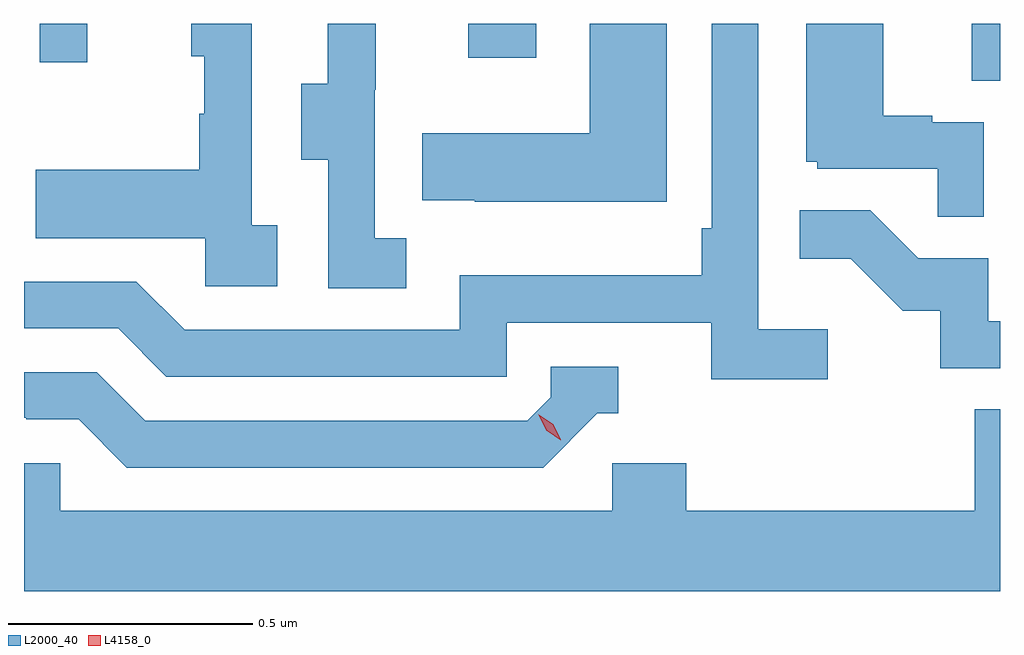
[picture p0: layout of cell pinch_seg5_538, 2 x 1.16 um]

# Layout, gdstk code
import gdstk
lib = gdstk.Library(unit=1e-6, precision=1e-09)
def R(c, l, rs):  # rectangles x0, y0, x1, y1
    for r in rs: c.add(gdstk.rectangle(r[:2], r[2:], *l))
def P(c, l, *ps):  # polygons
    for p in ps: c.add(gdstk.Polygon(p, *l))
L2000_40 = (2000, 40)
L4158_0 = (4158, 0)

pinch_seg5_538 = lib.new_cell('pinch_seg5_538')
R(pinch_seg5_538, L2000_40, [(962.441,843.154,962.499,843.27), (960.531,843.192,960.629,843.27), (961.409,843.201,961.549,843.27)])
P(pinch_seg5_538, L2000_40, [(962.466,843.069),(962.36,843.069),(962.36,843.082),(962.26,843.082),(962.26,843.27),(962.102,843.27),(962.102,842.988),(962.124,842.988),(962.124,842.973),(962.371,842.973),(962.371,842.875),(962.466,842.875)],
  [(962.146,842.644),(962.004,842.644),(962.004,843.27),(961.908,843.27),(961.908,842.851),(961.888,842.851),(961.888,842.755),(961.392,842.755),(961.392,842.643),(960.828,842.643),(960.729,842.742),(960.499,842.742),(960.499,842.646),(960.692,842.646),(960.791,842.547),(961.488,842.547),(961.488,842.658),(961.907,842.658),(961.907,842.542),(962.146,842.542)],
  [(961.816,843.27),(961.658,843.27),(961.658,843.046),(961.315,843.046),(961.315,842.909),(961.423,842.909),(961.423,842.906),(961.816,842.906)],
  [(961.282,842.831),(961.218,842.831),(961.218,843.135),(961.22,843.135),(961.22,843.27),(961.121,843.27),(961.121,843.147),(961.067,843.147),(961.067,842.992),(961.122,842.992),(961.122,842.728),(961.282,842.728)],
  [(961.018,842.858),(960.966,842.858),(960.966,843.27),(960.842,843.27),(960.842,843.204),(960.868,843.204),(960.868,843.086),(960.858,843.086),(960.858,842.971),(960.523,842.971),(960.523,842.831),(960.87,842.831),(960.87,842.733),(961.018,842.733)],
  [(962.499,842.661),(962.475,842.661),(962.475,842.79),(962.331,842.79),(962.233,842.888),(962.089,842.888),(962.089,842.789),(962.193,842.789),(962.3,842.682),(962.377,842.682),(962.377,842.565),(962.499,842.565)],
  [(961.674,842.472),(961.717,842.472),(961.717,842.568),(961.578,842.568),(961.578,842.505),(961.53,842.457),(960.747,842.457),(960.648,842.556),(960.499,842.556),(960.499,842.463),(960.504,842.463),(960.504,842.46),(960.611,842.46),(960.71,842.361),(961.563,842.361)],
  [(962.499,842.48),(962.447,842.48),(962.447,842.272),(961.856,842.272),(961.856,842.37),(961.704,842.37),(961.704,842.272),(960.573,842.272),(960.573,842.37),(960.499,842.37),(960.499,842.108),(962.499,842.108)])
P(pinch_seg5_538, L4158_0, [(961.599,842.417),(961.569,842.437),(961.553,842.47),(961.553,842.47),(961.553,842.47),(961.584,842.45),(961.599,842.418),(961.599,842.417)])

lib.write_gds('pinch_seg5_538.gds')
